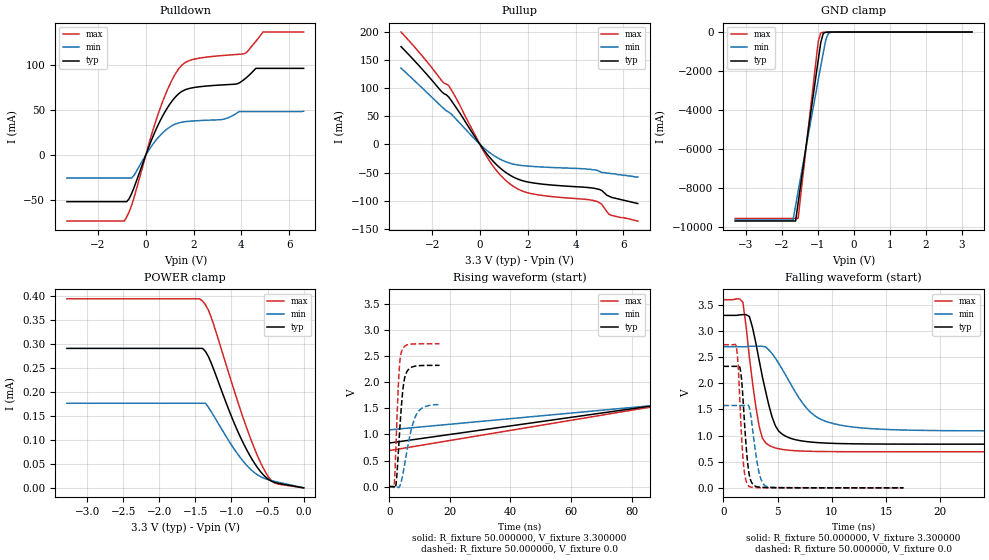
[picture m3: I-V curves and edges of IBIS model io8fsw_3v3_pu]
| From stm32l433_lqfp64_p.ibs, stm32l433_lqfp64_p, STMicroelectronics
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|   Model io8fsw_3v3_pu
[Model]  io8fsw_3v3_pu
Model_type I/O
Polarity   Non-Inverting
Enable   Active-Low
Vinl =   0.990000V
Vinh =   2.310000V
Vmeas =  1.650000V
Cref =   100.000000nF
Rref =   1.000000k
Vref =   3.300000V
C_comp   2.968600pF   2.938100pF   3.196200pF
[Temperature Range]   25.000000   0.125000k   -40.000000
[Pullup Reference]   3.300000V   2.700000V   3.600000V
[Pulldown Reference]   0.0V   0.0V   0.0V
[POWER Clamp Reference]   3.300000V   2.700000V   3.600000V
[GND Clamp Reference]   0.0V   0.0V   0.0V
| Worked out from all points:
|   slope of the pulldown table from 0 to 0.495 V, typ, clamps not added: 15.4 ohm
|   slope of the pullup table from 0 to 0.495 V, typ, clamps not added: 18.1 ohm
|   GND clamp passes 1 mA (typ) near -0.58 V on its own axis
|   rising waveform, R_fixture 50.000000, V_fixture 3.300000: 20-80 % time 180ns typ, 180ns min, 180ns max; typ from 0.836 V to 3.3 V
|   rising waveform, R_fixture 50.000000, V_fixture 0.0: 20-80 % time 1.71ns typ, 3.36ns min, 1.18ns max; typ from 0.001 V to 2.33 V
|   falling waveform, R_fixture 50.000000, V_fixture 3.300000: 20-80 % time 1.58ns typ, 3.13ns min, 1.09ns max; typ from 3.3 V to 0.836 V
|   falling waveform, R_fixture 50.000000, V_fixture 0.0: 20-80 % time 488ps typ, 660ps min, 410ps max; typ from 2.33 V to 0.001 V
[Pulldown]
|Voltage   I(typ)   I(min)   I(max)
-3.3V     -51.62mA   -25.53mA   -73.04mA
-900mV    -51.62mA   -25.53mA   -73.04mA
-500mV    -36.51mA   -22.79mA   -47.71mA
200mV     14.02mA    8.316mA    18.9mA
700mV     42.98mA    24.4mA     58.9mA
1.2V      63.06mA    33.8mA     88.14mA
1.6V      71.63mA    36.67mA    101.4mA
3.2V      77.51mA    39.29mA    110mA
4.1V      83.28mA    47.99mA    112mA
4.6V      95.81mA    47.99mA    125.7mA
4.9V      95.81mA    47.99mA    136mA
6.6V      95.81mA    48.43mA    136mA
[Pullup]
|Voltage   I(typ)   I(min)   I(max)
-3.3V     173.5mA    135.3mA    199.5mA
-1.6V     93.59mA    66.94mA    113mA
-1.3V     83.83mA    57.27mA    104.1mA
300mV     -17.49mA   -11.19mA   -22.71mA
700mV     -36.32mA   -22.9mA    -46.84mA
1.2V      -53.2mA    -32.62mA   -68.33mA
1.7V      -63.36mA   -37.26mA   -81.47mA
2.2V      -68.23mA   -39.11mA   -87.81mA
4.8V      -78.1mA    -45mA      -100.2mA
5.1V      -82mA      -50mA      -106.7mA
5.5V      -94mA      -52mA      -126mA
6.6V      -105mA     -58mA      -136mA
[GND_clamp]
|Voltage   I(typ)   I(min)   I(max)
-3.3V     -9.687A    -9.633A    -9.557A
-1.69V    -9.687A    -9.633A    -9.557A
-1.62V    -9.687A    -8.894A    -9.557A
-1.55V    -8.764A    -8.167A    -9.557A
-1.13V    -3.236A    -3.867A    -2.713A
-990mV    -1.416A    -2.448A    -480.1mA
-920mV    -530mA     -1.746A    -39.96mA
-850mV    -62.36mA   -1.055A    -14.04mA
-780mV    -12.04mA   -390.4mA   -9.013mA
-710mV    -4.897mA   -69.08mA   -5.32mA
-640mV    -2.305mA   -14.59mA   -2.498mA
3.28V     0A         0A         0A
[POWER_clamp]
|Voltage   I(typ)   I(min)   I(max)
-3.28V    291uA      176.5uA    394.3uA
-1.44V    291uA      176.5uA    394.3uA
-1.4V     291uA      176.5uA    389.8uA
-1.36V    284.6uA    176.5uA    382.1uA
-1.28V    260.2uA    158.7uA    355.4uA
-1V       148.8uA    89.45uA    220.9uA
-840mV    94.39uA    55.87uA    146.9uA
-680mV    51.08uA    31.49uA    81.3uA
-560mV    27.28uA    20.64uA    41.26uA
-480mV    16.8uA     16.48uA    21.17uA
-400mV    11.23uA    13.43uA    10.02uA
0V        0A         5.022nA    0A
[Ramp]
| variable   typ   min   max
dV/dt_r  1.39450/1.70870n   0.94482/3.37594n   1.64288/1.17422n
dV/dt_f  1.47838/1.57323n   0.96678/3.12576n   1.74562/1.07832n
R_load = 50.000000
[Rising Waveform]
R_fixture= 50.000000
V_fixture= 3.300000
V_fixture_min= 2.700000
V_fixture_max= 3.600000
|time   V(typ)   V(min)   V(max)
0s        836mV      1.089V     690.6mV
300.3ns   3.3V       2.7V       3.6V
600.6ns   3.3V       2.7V       3.6V
29.73us   3.3V       2.7V       3.6V
[Rising Waveform]
R_fixture= 50.000000
V_fixture= 0.0
V_fixture_min= 0.0
V_fixture_max= 0.0
|time   V(typ)   V(min)   V(max)
0s        932.4uV    1.399mV    660.9uV
1.635ns   -2.523mV   1.4mV      2.87mV
2.236ns   36.83mV    1.59mV     796.5mV
3.136ns   766.3mV    -16.86mV   2.077V
3.604ns   1.201V     28.39mV    2.446V
4.104ns   1.598V     125.9mV    2.594V
5.439ns   2.153V     545.7mV    2.704V
7.174ns   2.283V     1.065V     2.732V
8.909ns   2.313V     1.376V     2.737V
16.62ns   2.325V     1.576V     2.739V
[Falling Waveform]
R_fixture= 50.000000
V_fixture= 3.300000
V_fixture_min= 2.700000
V_fixture_max= 3.600000
|time   V(typ)   V(min)   V(max)
0s        3.3V       2.7V       3.6V
1.802ns   3.315V     2.7V       3.552V
2.402ns   3.279V     2.709V     2.502V
3.003ns   2.768V     2.709V     1.546V
3.604ns   2.125V     2.708V     951.8mV
4.805ns   1.187V     2.481V     764.2mV
6.006ns   963.7mV    2.063V     720.8mV
9.009ns   862.3mV    1.309V     695.8mV
15.92ns   837.7mV    1.111V     691mV
149.5ns   836mV      1.089V     690.6mV
[Falling Waveform]
R_fixture= 50.000000
V_fixture= 0.0
V_fixture_min= 0.0
V_fixture_max= 0.0
|time   V(typ)   V(min)   V(max)
0s        2.325V     1.576V     2.739V
1.201ns   2.325V     1.576V     2.696V
1.368ns   2.33V      1.576V     2.34V
1.568ns   2.263V     1.576V     1.468V
1.835ns   1.635V     1.576V     504.2mV
2.102ns   804.7mV    1.581V     136.5mV
2.336ns   325.6mV    1.571V     33.92mV
3.237ns   16.16mV    352.6mV    5.547mV
3.871ns   7.492mV    37.75mV    3.459mV
16.62ns   932.4uV    1.399mV    660.9uV
